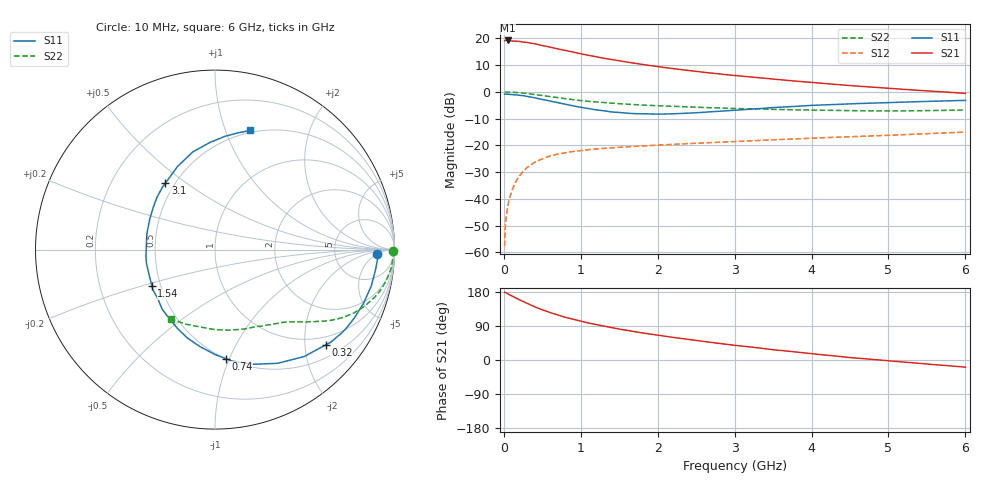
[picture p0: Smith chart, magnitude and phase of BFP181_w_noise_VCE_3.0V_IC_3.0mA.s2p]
! Infineon Technologies  Discrete & RF Semiconductors
! BFP181
! VCE = 3.0 V,  IC =  3.0 mA
! Common Emitter S-Parameters:  Jan 2016
# GHz  S  MA  R  50
!  f  S11  S21  S12  S22
! GHz  MAG  ANG  MAG  ANG  MAG  ANG  MAG  ANG
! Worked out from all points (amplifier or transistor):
!   210 points, 10 MHz to 6 GHz, reference 50 ohm
!   highest |S21| = 19.2 dB at 50 MHz (marker M1)
!   |S21| within 3 dB of that: start of sweep to 675.1 MHz
!   unconditionally stable (mu >= 1): 2.08 GHz to end of sweep
!   at 185 MHz: K = 0.13, MSG = 25.6 dB, |S12| = -32.2 dB
!   at 1.52 GHz: K = 0.80, MSG = 16.1 dB, |S12| = -20.7 dB
!   at 6 GHz: K = 1.09, MAG = 5.4 dB, |S12| = -15.1 dB
!   lowest NFmin = 1.40 dB at 450 MHz
!   S11 on the Smith chart (normalised r, x): 10 MHz: 18, -5; 320 MHz: 0.79, -2.47; 740 MHz: 0.50, -0.97; 1.54 GHz: 0.45, -0.22; 3.1 GHz: 0.45, +0.42; 6 GHz: 0.48, +1.22
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0.01  0.9031 -1.7  9.042 179.0  0.0013 88.7  0.9941 -0.6
0.02  0.9087 -2.6  9.126 178.3  0.0031 91.0  0.9871 -1.1
0.05  0.903 -6.4  9.127 174.8  0.0072 90.0  0.9913 -3.0
0.12  0.8871 -15.7  8.895 167.5  0.0161 80.3  0.9827 -7.0
0.2  0.8648 -26.2  8.779 159.2  0.0263 74.4  0.9633 -11.4
0.32  0.8135 -40.8  8.272 148.2  0.04 66.9  0.9218 -17.2
0.4  0.7757 -50.2  7.93 140.4  0.0479 62.3  0.8908 -20.8
0.5  0.723 -61.2  7.329 132.4  0.056 56.6  0.8495 -24.6
0.6  0.6745 -71.3  6.863 125.3  0.063 52.4  0.8105 -27.7
0.74  0.6098 -84.4  6.178 116.3  0.0701 47.4  0.7608 -31.1
0.9  0.546 -99.0  5.545 107.3  0.0767 42.6  0.7104 -34.2
1.02  0.5083 -109.2  5.067 101.4  0.0801 40.0  0.6811 -36.1
1.1  0.4848 -116.0  4.834 97.5  0.0829 38.3  0.6635 -37.2
1.3  0.4435 -131.7  4.242 89.4  0.0877 35.4  0.6288 -39.8
1.54  0.4065 -149.9  3.727 80.3  0.0925 33.1  0.5952 -42.5
1.8  0.3897 -168.5  3.253 71.5  0.0966 31.3  0.5659 -45.4
2.02  0.3831 177.7  2.93 65.0  0.101 29.9  0.5483 -48.0
2.56  0.4109 148.6  2.355 50.0  0.1099 27.5  0.511 -55.1
3.1  0.4617 126.8  1.958 36.7  0.1193 25.3  0.4834 -63.1
4.1  0.5642 100.8  1.459 14.6  0.1376 21.1  0.4531 -81.5
5.1  0.6374 84.0  1.137 -3.8  0.1557 17.3  0.4393 -102.7
6  0.6923 73.5  0.937 -18.9  0.1765 12.7  0.4584 -122.7
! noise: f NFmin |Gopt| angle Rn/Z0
0.45  1.4  0.56  17  0.36
0.9  1.5  0.45  35  0.34
1.8  1.85  0.25  82  0.36
